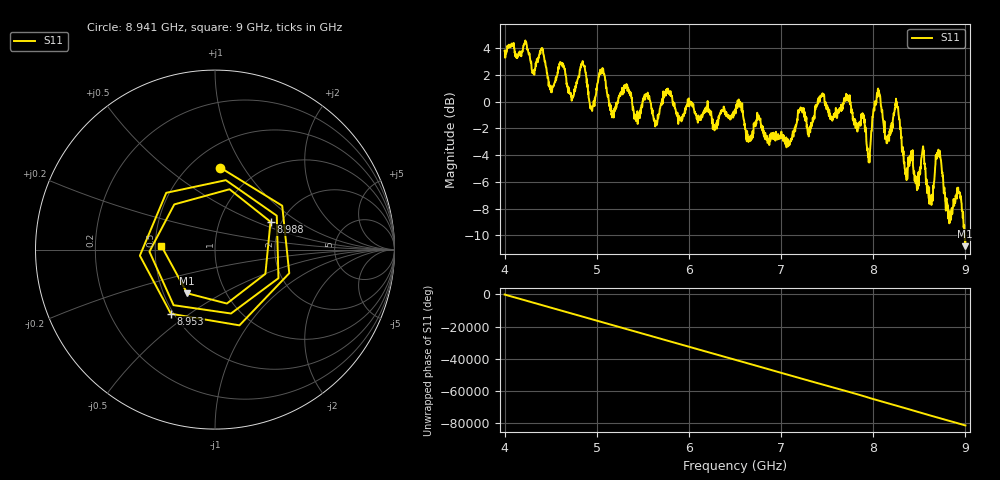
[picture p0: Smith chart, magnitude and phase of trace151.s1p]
! Created with skrf 1.8.0 (http://scikit-rf.org).
# Hz S RI R 50.0
!freq ReS11 ImS11
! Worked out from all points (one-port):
!   1601 points, 4 GHz to 9 GHz, reference 50 ohm
!   lowest |S11| = -10.8 dB at 8.997 GHz (marker M1), VSWR 1.81, Z = 32.9 - j17.5 ohm
!   |S11| at or under -10 dB: 8.990575 GHz to end of sweep
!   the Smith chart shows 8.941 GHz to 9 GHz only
!   S11 on the Smith chart (normalised r, x): 8.941 GHz: 0.69, +0.79; 8.953 GHz: 0.48, -0.43; 8.988 GHz: 1.76, +0.62; 9 GHz: 0.54, +0.03
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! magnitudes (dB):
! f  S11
! 4 GHz  3.8
! 4.403 GHz  3.9
! 4.509 GHz  0.7
! 4.625 GHz  2.9
! 4.728 GHz  0.1
! 4.847 GHz  3.0
! 4.938 GHz  -0.3
! 5.053 GHz  2.3
! 5.159 GHz  -1.0
! 5.25 GHz  0.4
! 5.875 GHz  -0.8
! 6.5 GHz  -0.6
! 7.125 GHz  -2.4
! 7.75 GHz  -0.1
! 7.95 GHz  -4.5
! 8.05 GHz  0.9
! 8.15 GHz  -3.1
! 8.253 GHz  -0.4
! 8.375 GHz  -5.0
! 8.541 GHz  -3.3
! 8.622 GHz  -7.0
! 8.703 GHz  -3.8
! 8.825 GHz  -9.1
! 8.941 GHz  -6.8
! 8.953 GHz  -7.3
! 8.988 GHz  -9.2
! 8.997 GHz  -10.8
! 9 GHz  -10.5
